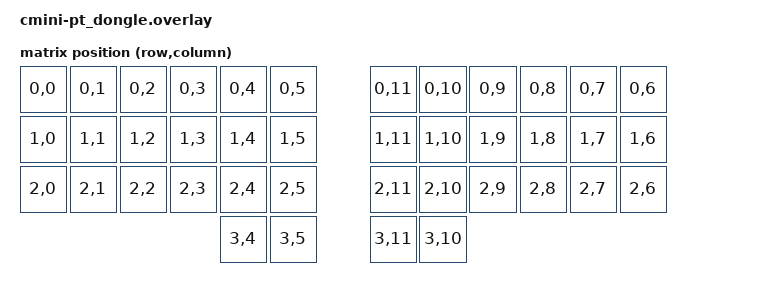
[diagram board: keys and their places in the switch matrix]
#include "cmini-pt.dtsi"


#define INPUT_EV_KEY 0x01               /**< Key event */
#define INPUT_EV_REL 0x02               /**< Relative coordinate event */
#define INPUT_EV_ABS 0x03               /**< Absolute coordinate event */
#define INPUT_EV_MSC 0x04               /**< Miscellaneous event */
#define INPUT_EV_VENDOR_START 0xf0      /**< Vendor specific event start */
#define INPUT_EV_VENDOR_STOP 0xff       /**< Vendor specific event stop */

#define INPUT_REL_X 0x00                /**< Relative X coordinate */
#define INPUT_REL_Y 0x01                /**< Relative Y coordinate */
#define INPUT_REL_WHEEL 0x08            /**< Relative wheel coordinate */
#define INPUT_REL_HWHEEL 0x06           /**< Relative horizontal wheel coordinate */
#define INPUT_REL_MISC 0x09             /**< Relative misc coordinate */


/ {
    chosen {
        zmk,kscan = &mock_kscan;
        zmk,matrix-transform = &default_transform;
    };


    default_transform: keymap_transform_0 {
        compatible = "zmk,matrix-transform";
        columns = <12>;
        rows = <4>;

        map = <
RC(0,0) RC(0,1) RC(0,2) RC(0,3) RC(0,4) RC(0,5)                   RC(0,11) RC(0,10) RC(0,9) RC(0,8) RC(0,7) RC(0,6)
RC(1,0) RC(1,1) RC(1,2) RC(1,3) RC(1,4) RC(1,5)                   RC(1,11) RC(1,10) RC(1,9) RC(1,8) RC(1,7) RC(1,6)
RC(2,0) RC(2,1) RC(2,2) RC(2,3) RC(2,4) RC(2,5)                   RC(2,11) RC(2,10) RC(2,9) RC(2,8) RC(2,7) RC(2,6)
                                RC(3,4) RC(3,5)                   RC(3,11) RC(3,10)
        >;
    };

    mock_kscan: kscan_0 {
        compatible = "zmk,kscan-mock";
        columns = <0>;
        rows = <0>;
        events = <0>;
    };
};

/ {
  trackball: virtual_input {
      compatible = "zmk,virtual-input";
  };

  trackpad: virtual_input {
    compatible = "zmk,virtual-input";
  };
};


/ {
	input_relay_config_trackball {
		compatible = "zmk,split-peripheral-input-relay";
		
		/* channel id, used to filter incoming annotated input event from split peripheral */
		/* NOTE: should matching relay-channel on peripheral overlay */
		relay-channel = <102>;

		/* virtual input device on central, which used to emit input event as an agent device */
		device = <&trackball>;
	};

  input_relay_config_trackpad {
    compatible = "zmk,split-peripheral-input-relay";
    
    /* channel id, used to filter incoming annotated input event from split peripheral */
    /* NOTE: should matching relay-channel on peripheral overlay */
    relay-channel = <103>;

    /* virtual input device on central, which used to emit input event as an agent device */
    device = <&trackpad>;
  };
};

